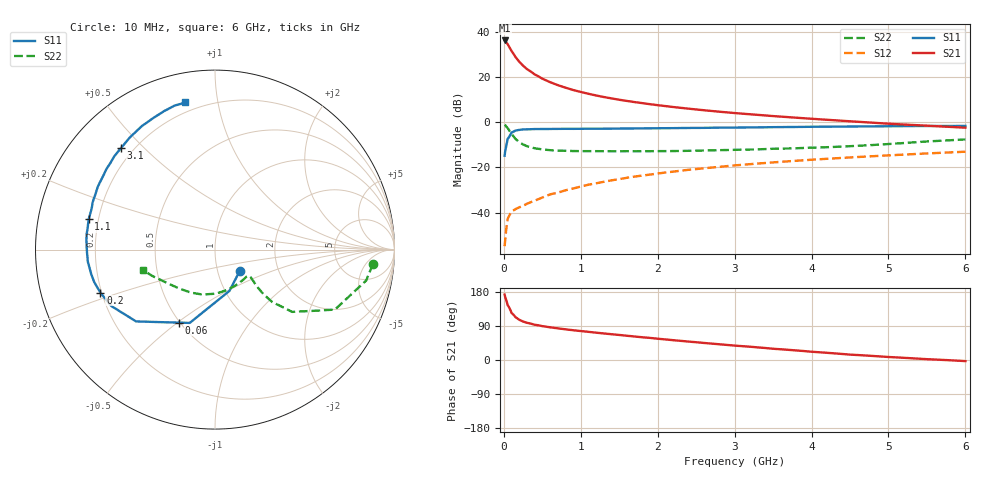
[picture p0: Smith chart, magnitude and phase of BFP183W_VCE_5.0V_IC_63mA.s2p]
! Infineon Technologies  Discrete & RF Semiconductors
! BFP183W
! VCE =  5.0 V,  IC =  63 mA
! Common Emitter S-Parameters:  Jan 2017
# GHz  S  MA  R  50
!  f  S11  S21  S12  S22
! GHz  MAG  ANG  MAG  ANG  MAG  ANG  MAG  ANG
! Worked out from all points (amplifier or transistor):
!   77 points, 10 MHz to 6 GHz, reference 50 ohm
!   highest |S21| = 36.3 dB at 10 MHz (marker M1)
!   |S21| within 3 dB of that: start of sweep to 72.32 MHz
!   unconditionally stable (mu >= 1): 409.7 MHz to 3.75 GHz
!   at 130 MHz: K = 0.52, MSG = 34.6 dB, |S12| = -38.9 dB
!   at 2.2 GHz: K = 1.14, MAG = 12.0 dB, |S12| = -21.8 dB
!   at 6 GHz: K = 0.88, MSG = 5.3 dB, |S12| = -13.0 dB
!   S11 on the Smith chart (normalised r, x): 10 MHz: 1.27, -0.32; 60 MHz: 0.49, -0.51; 200 MHz: 0.20, -0.18; 1.1 GHz: 0.16, +0.12; 3.1 GHz: 0.15, +0.43; 6 GHz: 0.15, +0.81
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0.01  0.1825 -41.2  65.64 172.6  0.0018 88.5  0.8832 -5.3
0.02  0.2439 -70.8  64.17 164.4  0.0027 84.7  0.8596 -11.6
0.05  0.432 -109.0  54.24 144.7  0.0072 59.2  0.747 -26.6
0.06  0.4535 -116.2  50.66 141.7  0.0079 58.1  0.706 -28.5
0.1  0.5946 -137.7  38.39 124.2  0.0105 54.9  0.5527 -38.9
0.15  0.6581 -151.5  28.42 113.3  0.0119 49.4  0.4326 -42.5
0.2  0.682 -159.4  22.18 106.3  0.0131 49.1  0.3655 -42.6
0.25  0.697 -165.0  18.11 101.5  0.0141 50.9  0.3243 -41.7
0.3  0.7031 -168.9  15.26 98.2  0.0157 51.6  0.2969 -40.6
0.4  0.7116 -174.6  11.63 93.1  0.0183 57.6  0.2669 -38.8
0.5  0.7133 -178.6  9.338 89.4  0.0216 60.0  0.252 -37.8
0.6  0.7156 178.2  7.82 86.3  0.0253 63.0  0.2424 -37.7
0.7  0.7184 175.6  6.716 83.6  0.0276 65.2  0.2371 -38.1
0.9  0.7194 170.6  5.236 78.6  0.0342 67.3  0.2318 -40.4
1.1  0.7237 166.5  4.31 74.3  0.0416 68.6  0.2306 -43.5
1.3  0.7237 162.5  3.653 70.0  0.0482 69.9  0.2299 -47.1
1.5  0.7307 159.0  3.178 66.1  0.0552 69.7  0.2291 -51.2
2.1  0.7441 148.2  2.301 54.3  0.0773 68.2  0.2308 -66.3
3.1  0.7708 132.9  1.563 36.5  0.1149 62.7  0.248 -94.8
4.1  0.8014 119.4  1.173 20.4  0.1522 56.0  0.2782 -122.6
5.1  0.8241 109.2  0.916 6.9  0.1894 48.6  0.3397 -149.1
6  0.8361 101.4  0.763 -2.9  0.2238 41.6  0.419 -164.4
